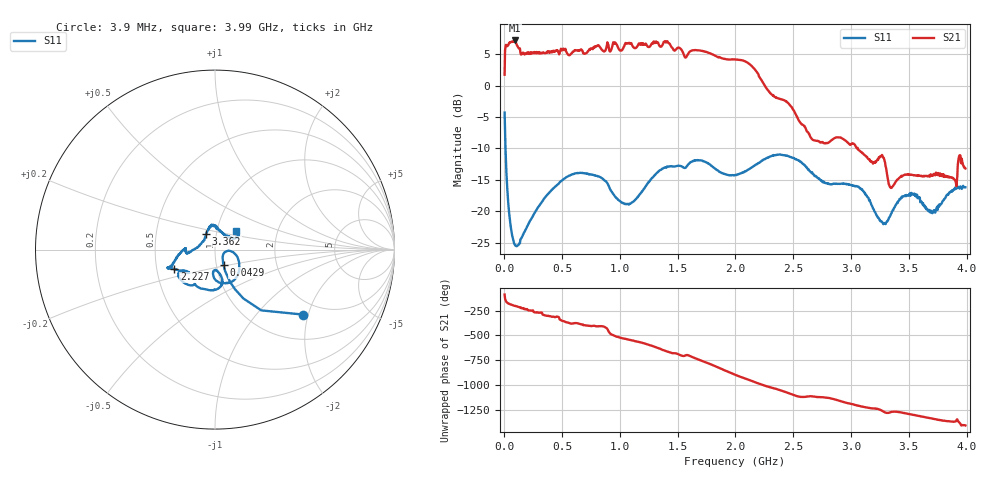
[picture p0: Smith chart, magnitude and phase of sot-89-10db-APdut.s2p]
# HZ S RI R 50
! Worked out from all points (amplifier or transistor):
!   1023 points, 3.9 MHz to 3.99 GHz, reference 50 ohm
!   highest |S21| = 7.2 dB at 93.6 MHz (marker M1)
!   |S21| within 3 dB of that: 6.357 MHz to 1.927 GHz (1.921 GHz wide, 199 % of centre)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
!   S11 on the Smith chart (normalised r, x): 3.9 MHz: 1.61, -1.85; 42.9 MHz: 1.08, -0.19; 2.227 GHz: 0.62, -0.14; 3.362 GHz: 0.89, +0.16; 3.99 GHz: 1.24, +0.26
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3900000  0.4901 -0.362  0.0699 -1.216  0 0  0 0
4.29e7  0.0475 -0.085  -2.182 0.0499  0 0  0 0
9.36e7  0.045 -0.0302  -2.13 0.8212  0 0  0 0
3.198e8  0.1131 -0.0261  -0.0284 1.821  0 0  0 0
4.563e8  0.1351 -0.0886  1.201 1.45  0 0  0 0
5.031e8  0.1347 -0.1147  1.914 0.2522  0 0  0 0
6.708e8  0.0862 -0.1826  1.678 -0.9354  0 0  0 0
8.463e8  0.0211 -0.1821  1.299 -1.417  0 0  0 0
8.97e8  -0.0012 -0.1646  0.1878 -2.136  0 0  0 0
9.516e8  -0.0112 -0.1339  -1.744 -1.313  0 0  0 0
1.0608e9  0.000409 -0.1138  -2.153 -0.0535  0 0  0 0
1.2012e9  0.0318 -0.1436  -1.735 1.31  0 0  0 0
1.3338e9  0.0316 -0.2039  -0.0829 2.151  0 0  0 0
1.4352e9  -0.027 -0.2262  1.436 1.559  0 0  0 0
1.6497e9  -0.176 -0.1806  1.885 -0.3266  0 0  0 0
1.8174e9  -0.1856 -0.119  0.1004 -1.737  0 0  0 0
1.9968e9  -0.1452 -0.1292  -1.61 -0.0752  0 0  0 0
2.2269e9  -0.2266 -0.1091  0.1424 1.091  0 0  0 0
2.6637e9  -0.2026 -0.0263  0.3024 -0.2205  0 0  0 0
3.3267e9  -0.0557 0.0681  -0.1523 0.0628  0 0  0 0
3.3618e9  -0.0489 0.0895  -0.155 0.0326  0 0  0 0
3.9897e9  0.1181 0.101  0.191 0.1068  0 0  0 0
